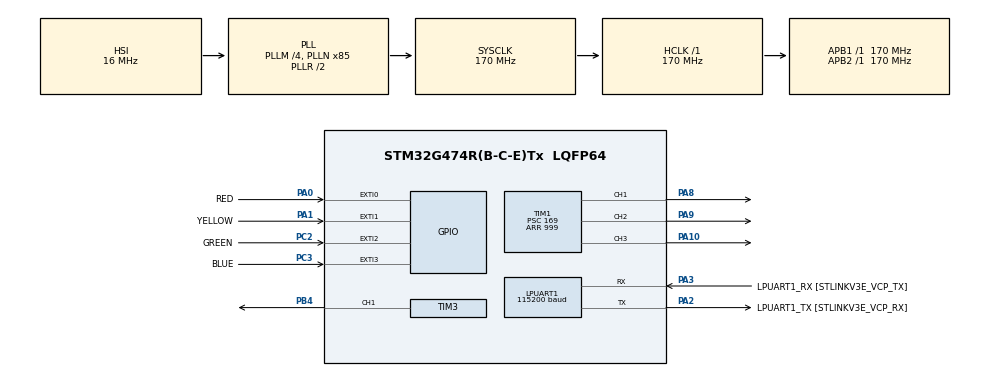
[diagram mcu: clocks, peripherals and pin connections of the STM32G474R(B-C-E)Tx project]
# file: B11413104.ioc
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LPUART1.BaudRate=115200
Mcu.Family=STM32G4
Mcu.Name=STM32G474R(B-C-E)Tx
Mcu.Package=LQFP64
NVIC.EXTI0_IRQn=true\:0\:0\:false\:false\:true\:true\:true\:true
NVIC.EXTI1_IRQn=true\:0\:0\:false\:false\:true\:true\:true\:true
NVIC.EXTI2_IRQn=true\:0\:0\:false\:false\:true\:true\:true\:true
NVIC.EXTI3_IRQn=true\:0\:0\:false\:false\:true\:true\:true\:true
NVIC.LPUART1_IRQn=true\:0\:0\:false\:false\:true\:true\:true\:true
NVIC.PriorityGroup=NVIC_PRIORITYGROUP_4
PA0.GPIO_Label=RED
PA0.GPIO_ModeDefaultEXTI=GPIO_MODE_IT_FALLING
PA0.GPIO_PuPd=GPIO_PULLUP
PA0.Signal=GPXTI0
PA1.GPIO_Label=YELLOW
PA1.GPIO_ModeDefaultEXTI=GPIO_MODE_IT_FALLING
PA1.GPIO_PuPd=GPIO_PULLUP
PA1.Signal=GPXTI1
PA10.Signal=S_TIM1_CH3
PA13.GPIO_Label=T_SWDIO
PA13.Signal=SYS_JTMS-SWDIO
PA14.GPIO_Label=T_SWCLK
PA14.Signal=SYS_JTCK-SWCLK
PA2.GPIO_Label=LPUART1_TX [STLINKV3E_VCP_RX]
PA2.Mode=Asynchronous
PA2.Signal=LPUART1_TX
PA3.GPIO_Label=LPUART1_RX [STLINKV3E_VCP_TX]
PA3.Mode=Asynchronous
PA3.Signal=LPUART1_RX
PA8.Signal=S_TIM1_CH1
PA9.Signal=S_TIM1_CH2
PB3.GPIO_Label=T_SWO
PB3.Signal=SYS_JTDO-SWO
PB4.Signal=S_TIM3_CH1
PC14-OSC32_IN.GPIO_Label=RCC_OSC32_IN
PC14-OSC32_IN.Signal=RCC_OSC32_IN
PC15-OSC32_OUT.GPIO_Label=RCC_OSC32_OUT
PC15-OSC32_OUT.Signal=RCC_OSC32_OUT
PC2.GPIO_Label=GREEN
PC2.GPIO_ModeDefaultEXTI=GPIO_MODE_IT_FALLING
PC2.GPIO_PuPd=GPIO_PULLUP
PC2.Signal=GPXTI2
PC3.GPIO_Label=BLUE
PC3.GPIO_ModeDefaultEXTI=GPIO_MODE_IT_FALLING
PC3.GPIO_PuPd=GPIO_PULLUP
PC3.Signal=GPXTI3
PF0-OSC_IN.GPIO_Label=RCC_OSC_IN
PF0-OSC_IN.Signal=RCC_OSC_IN
PF1-OSC_OUT.GPIO_Label=RCC_OSC_OUT
PF1-OSC_OUT.Signal=RCC_OSC_OUT
ProjectManager.HeapSize=0x200
ProjectManager.StackSize=0x400
ProjectManager.TargetToolchain=STM32CubeIDE
RCC.ADC12Freq_Value=170000000
RCC.ADC345Freq_Value=170000000
RCC.AHBFreq_Value=170000000
RCC.APB1Freq_Value=170000000
RCC.APB1TimFreq_Value=170000000
RCC.APB2Freq_Value=170000000
RCC.APB2TimFreq_Value=170000000
RCC.CortexFreq_Value=170000000
RCC.EXTERNAL_CLOCK_VALUE=12288000
RCC.HCLKFreq_Value=170000000
RCC.HSE_VALUE=24000000
RCC.HSI48_VALUE=48000000
RCC.HSI_VALUE=16000000
RCC.LSE_VALUE=32768
RCC.PLLM=RCC_PLLM_DIV4
RCC.PLLN=85
RCC.RTCClockSelection=RCC_RTCCLKSOURCE_LSE
RCC.SYSCLKFreq_VALUE=170000000
RCC.SYSCLKSource=RCC_SYSCLKSOURCE_PLLCLK
RCC.USBFreq_Value=170000000
RCC.VCOOutputFreq_Value=340000000
SH.S_TIM1_CH1.0=TIM1_CH1,PWM Generation1 CH1
SH.S_TIM1_CH2.0=TIM1_CH2,PWM Generation2 CH2
SH.S_TIM1_CH3.0=TIM1_CH3,PWM Generation3 CH3
SH.S_TIM3_CH1.0=TIM3_CH1,PWM Generation1 CH1
TIM1.Channel-PWM\ Generation1\ CH1=TIM_CHANNEL_1
TIM1.Channel-PWM\ Generation2\ CH2=TIM_CHANNEL_2
TIM1.Channel-PWM\ Generation3\ CH3=TIM_CHANNEL_3
TIM1.PeriodNoDither=999
TIM1.Prescaler=169
TIM3.Channel-PWM\ Generation1\ CH1=TIM_CHANNEL_1
TIM3.PeriodNoDither=999
TIM3.Prescaler=169
VP_SYS_VS_DBSignals.Mode=DisableDeadBatterySignals
VP_TIM1_VS_ClockSourceINT.Mode=Internal
VP_TIM3_VS_ClockSourceINT.Mode=Internal
board=NUCLEO-G474RE

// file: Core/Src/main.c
/* USER CODE BEGIN Header */
/**
  ******************************************************************************
  * @file           : main.c
  * @brief          : Main program body
  ******************************************************************************
  * @attention
  *
  * Copyright (c) 2026 STMicroelectronics.
  * All rights reserved.
  *
  * This software is licensed under terms that can be found in the LICENSE file
  * in the root directory of this software component.
  * If no LICENSE file comes with this software, it is provided AS-IS.
  *
  ******************************************************************************
  */
/* USER CODE END Header */
#include "main.h"

/* USER CODE BEGIN Includes */
#include <stdio.h>
#include <string.h>
#include <stdbool.h>
#include <stdlib.h>
#include <ctype.h>
/* USER CODE END Includes */

UART_HandleTypeDef hlpuart1;

TIM_HandleTypeDef htim1;
TIM_HandleTypeDef htim3;

/* USER CODE BEGIN PV */
typedef enum {
    STATE_IDLE,       // 起始狀態：LED 恆亮
    STATE_PLAYING,    // 遊戲進行中：按下的 LED 熄滅
    STATE_SUCCESS,    // 成功：呼吸燈效果
    STATE_FAILED      // 失敗：四顆燈快速閃爍
} GameState_t;

GameState_t gameState = STATE_IDLE;

// 遊戲參數
uint8_t wireCount = 4;                     // 引線數量 (1~4)
char wireSeq[5] = "BRYG";                  // 引線正確順序字串 (R, Y, G, B)
uint32_t totalTimeSec = 30;                // 倒數時間 (秒)

// 遊戲即時狀態
uint8_t currentStep = 0;                   // 當前已剪斷正確數
uint32_t gameStartTime = 0;                // 開始時間 (ms)
uint32_t lastReportTime = 0;               // 上次 UART 自動回報時間 (ms)
uint32_t breathTimer = 0;                  // 呼吸燈計時 (ms)
uint32_t blinkTimer = 0;                   // 閃爍計時 (ms)
bool ledBlinkState = false;

// LED 個別點亮/熄滅狀態 (1:亮, 0:滅)
uint8_t ledStatus[4] = {1, 1, 1, 1}; // 0:Red, 1:Yellow, 2:Green, 3:Blue

// 按鈕引線當前狀態 (true: 已剪斷/按過)
bool wireCut[4] = {false, false, false, false};

// LPUART1 緩衝區
#define RX_BUFF_SIZE 64
uint8_t rxBuffer[RX_BUFF_SIZE];
uint8_t rxChar;
uint8_t rxIndex = 0;

// 按鈕防彈跳時間
uint32_t lastBtnTime[4] = {0};
/* USER CODE END PV */

void SystemClock_Config(void);
static void MX_GPIO_Init(void);
static void MX_LPUART1_UART_Init(void);
static void MX_TIM1_Init(void);
static void MX_TIM3_Init(void);
/* USER CODE BEGIN PFP */
void SendUART(const char *str);
void ProcessCommand(char *cmd);
void UpdateLEDs(void);
void SetLEDs(uint8_t r, uint8_t y, uint8_t g, uint8_t b); // <-- 補上這行宣告
void ReadButtons(void);
void EndGame(bool success, const char *reason);
void PrintHelp(void);
void PrintStatus(void);
uint8_t ColorToIdx(char c);
char IdxToColorChar(uint8_t idx);
/* USER CODE END PFP */

int main(void)
{

  /* MCU Configuration--------------------------------------------------------*/

  /* Reset of all peripherals, Initializes the Flash interface and the Systick. */
  HAL_Init();

  /* Configure the system clock */
  SystemClock_Config();

  /* Initialize all configured peripherals */
  MX_GPIO_Init();
  MX_LPUART1_UART_Init();
  // 啟動 UART 中斷接收
    HAL_UART_Receive_IT(&hlpuart1, &rxChar, 1);

    SendUART("\r\n========================================\r\n");
    SendUART(" [Bomb Defuse Simulator] System Ready.\r\n");
    SendUART(" Type 'HELP' to show available commands.\r\n");
    SendUART("========================================\r\n");
  MX_TIM1_Init();
  MX_TIM3_Init();
  /* USER CODE BEGIN 2 */
  // 重新將 PA8, PA9, PA10, PB4 配置為 GPIO Input + 上拉電阻 (防雜訊與防誤觸)
    GPIO_InitTypeDef GPIO_InitStruct = {0};
    GPIO_InitStruct.Mode = GPIO_MODE_INPUT;
    GPIO_InitStruct.Pull = GPIO_PULLUP;

    GPIO_InitStruct.Pin = GPIO_PIN_8 | GPIO_PIN_9 | GPIO_PIN_10;
    HAL_GPIO_Init(GPIOA, &GPIO_InitStruct); // PA8 (RED), PA9 (YELLOW), PA10 (GREEN)

    GPIO_InitStruct.Pin = GPIO_PIN_4;
    HAL_GPIO_Init(GPIOB, &GPIO_InitStruct); // PB4 (BLUE)

    // 將 PA0, PA1, PC2, PC3 設定為 GPIO 數位輸出 (控制 4 顆 LED)
    GPIO_InitStruct.Mode = GPIO_MODE_OUTPUT_PP;
    GPIO_InitStruct.Pull = GPIO_NOPULL;
    GPIO_InitStruct.Speed = GPIO_SPEED_FREQ_LOW;

    GPIO_InitStruct.Pin = GPIO_PIN_0 | GPIO_PIN_1;
    HAL_GPIO_Init(GPIOA, &GPIO_InitStruct); // PA0 (RED LED), PA1 (YELLOW LED)

    GPIO_InitStruct.Pin = GPIO_PIN_2 | GPIO_PIN_3;
    HAL_GPIO_Init(GPIOC, &GPIO_InitStruct); // PC2 (GREEN LED), PC3 (BLUE LED)

    // 啟動 LPUART1 中斷接收
    HAL_UART_Receive_IT(&hlpuart1, &rxChar, 1);

    SendUART("\r\n========================================\r\n");
    SendUART(" [Bomb Defuse Simulator] System Ready.\r\n");
    SendUART(" Type 'HELP' to show available commands.\r\n");
    SendUART("========================================\r\n");
  /* USER CODE END 2 */

  /* Infinite loop */
  while (1)
  {

    /* USER CODE BEGIN 3 */

	  uint32_t now = HAL_GetTick();

	        // ----------------------------------------------------
	        // 1. 狀態機與 LED 燈效處理
	        // ----------------------------------------------------
	        switch (gameState) {
	            case STATE_IDLE:
	                // 起始狀態：4 顆 LED 恆亮
	                SetLEDs(1, 1, 1, 1);
	                break;

	            case STATE_PLAYING:
	                // 遊戲倒數計時
	                {
	                    uint32_t elapsedSec = (now - gameStartTime) / 1000;
	                    if (elapsedSec >= totalTimeSec) {
	                        EndGame(false, "TIME EXPIRED! BOMB EXPLODED!");
	                    } else {
	                        // 每秒透過 UART 自動顯示倒數與進度
	                        if (now - lastReportTime >= 1000) {
	                            lastReportTime = now;
	                            char msg[64];
	                            uint32_t remain = totalTimeSec - elapsedSec;
	                            snprintf(msg, sizeof(msg), "[TIMER] Remaining: %lu s | Defused: %d/%d\r\n",
	                                     remain, currentStep, wireCount);
	                            SendUART(msg);
	                        }
	                    }
	                }
	                UpdateLEDs();
	                ReadButtons();
	                break;

	            case STATE_SUCCESS:
	                // 【通關：呼吸燈效果】利用高頻 PWM 模擬流暢呼吸燈 (週期約 1.5 秒)
	                if (now - breathTimer >= 15) {
	                    breathTimer = now;

	                    static int brightness = 0;   // 亮度 (0 ~ 100)
	                    static int fadeDir = 1;      // 漸變方向 (1:變亮, -1:變暗)

	                    brightness += fadeDir * 3;
	                    if (brightness >= 100) {
	                        brightness = 100;
	                        fadeDir = -1;
	                    } else if (brightness <= 0) {
	                        brightness = 0;
	                        fadeDir = 1;
	                    }

	                    // 軟體 PWM 脈衝寬度調變
	                    for (int i = 0; i < 10; i++) {
	                        if (i < (brightness / 10)) {
	                            SetLEDs(1, 1, 1, 1);
	                        } else {
	                            SetLEDs(0, 0, 0, 0);
	                        }
	                        // 產生 100us 極微小延遲形成 PWM 視覺效果
	                        for (volatile int delay = 0; delay < 200; delay++);
	                    }
	                }
	                break;

	            case STATE_FAILED:
	                // 【失敗：四顆燈快速閃爍】(每 100ms 切換全亮 / 全滅)
	                if (now - blinkTimer >= 100) {
	                    blinkTimer = now;
	                    ledBlinkState = !ledBlinkState;
	                    if (ledBlinkState) {
	                        SetLEDs(1, 1, 1, 1); // 4 顆全亮
	                    } else {
	                        SetLEDs(0, 0, 0, 0); // 4 顆全滅
	                    }
	                }
	                break;
	      }
	    }
	  }

	  // ----------------------------------------------------
	  // 工具函式
	  // ----------------------------------------------------
	  void SendUART(const char *str) {
	      HAL_UART_Transmit(&hlpuart1, (uint8_t*)str, strlen(str), HAL_MAX_DELAY);
	  }

	  // 轉換顏色字元與索引 (0:R, 1:Y, 2:G, 3:B)
	  uint8_t ColorToIdx(char c) {
	      switch (toupper(c)) {
	          case 'R': return 0;
	          case 'Y': return 1;
	          case 'G': return 2;
	          case 'B': return 3;
	          default:  return 255;
	      }
	  }

	  char IdxToColorChar(uint8_t idx) {
	      switch(idx) {
	          case 0: return 'R';
	          case 1: return 'Y';
	          case 2: return 'G';
	          case 3: return 'B';
	          default: return '?';
	      }
	  }

	  // 更新物理 GPIO 點亮或熄滅
	  void UpdateLEDs(void) {
	      HAL_GPIO_WritePin(GPIOA, GPIO_PIN_0, ledStatus[0] ? GPIO_PIN_SET : GPIO_PIN_RESET); // RED
	      HAL_GPIO_WritePin(GPIOA, GPIO_PIN_1, ledStatus[1] ? GPIO_PIN_SET : GPIO_PIN_RESET); // YELLOW
	      HAL_GPIO_WritePin(GPIOC, GPIO_PIN_2, ledStatus[2] ? GPIO_PIN_SET : GPIO_PIN_RESET); // GREEN
	      HAL_GPIO_WritePin(GPIOC, GPIO_PIN_3, ledStatus[3] ? GPIO_PIN_SET : GPIO_PIN_RESET); // BLUE
	  }

	  // 印出 HELP 指令資訊
	  void PrintHelp(void) {
	      SendUART("\r\n=== COMMAND LIST ===\r\n");
	      SendUART(" HELP           : Show command manual\r\n");
	      SendUART(" SET <N> <SEQ>  : Set wire count N (1-4) & sequence string (e.g. SET 4 BRYG)\r\n");
	      SendUART(" TIME <SEC>     : Set countdown timer in seconds (e.g. TIME 30)\r\n");
	      SendUART(" START          : Start game and countdown\r\n");
	      SendUART(" STATUS         : View current settings and game status\r\n");
	      SendUART(" RESET          : Reset back to IDLE state\r\n");
	      SendUART("====================\r\n\r\n");
	  }

	  // 印出 STATUS 目前設定與狀態
	  void PrintStatus(void) {
	      char msg[128];
	      snprintf(msg, sizeof(msg),
	               "\r\n=== GAME STATUS ===\r\n State: %s\r\n Target Wires: %d\r\n Sequence: %s\r\n Time: %lu s\r\n===================\r\n\r\n",
	               (gameState == STATE_IDLE) ? "IDLE" :
	               (gameState == STATE_PLAYING) ? "PLAYING" :
	               (gameState == STATE_SUCCESS) ? "SUCCESS" : "FAILED",
	               wireCount, wireSeq, totalTimeSec);
	      SendUART(msg);
	  }

	  // 讀取按鈕與剪線 Logic (加入防懸空與去彈跳機制)
	  void ReadButtons(void) {
		  if (gameState != STATE_PLAYING) return;

		      GPIO_TypeDef* ports[4] = {GPIOA, GPIOA, GPIOA, GPIOB};
		      uint16_t pins[4] = {GPIO_PIN_8, GPIO_PIN_9, GPIO_PIN_10, GPIO_PIN_4};
		      uint32_t now = HAL_GetTick();

		      // 遊戲開始前 500ms 忽略按鈕，避免啟動電位突波
		      if (now - gameStartTime < 500) return;

		      for (int i = 0; i < 4; i++) {
		          // 第一次判斷：腳位是否為 Low (Active Low)
		          if (HAL_GPIO_ReadPin(ports[i], pins[i]) == GPIO_PIN_RESET && !wireCut[i]) {
		              if (now - lastBtnTime[i] > 300) {

		                  // 二次延遲確認：防止懸空靜電或雜訊突波誤判
		                  HAL_Delay(5);
		                  if (HAL_GPIO_ReadPin(ports[i], pins[i]) != GPIO_PIN_RESET) {
		                      continue; // 屬雜訊突波，忽略
		                  }

		                  lastBtnTime[i] = now;
		                  wireCut[i] = true;
		                  ledStatus[i] = 0; // 按下後對應 LED 熄滅

		                  char pressedColor = IdxToColorChar(i);
		                  char expectedColor = wireSeq[currentStep];

		                  if (pressedColor == expectedColor) {
		                      currentStep++;

		                      char msg[64];
		                      const char* colorNames[] = {"RED", "YELLOW", "GREEN", "BLUE"};
		                      snprintf(msg, sizeof(msg), "CUT %s CORRECT (%d/%d)\r\n",
		                               colorNames[i], currentStep, wireCount);
		                      SendUART(msg);

		                      if (currentStep >= wireCount) {
		                          EndGame(true, "ALL WIRES DEFUSED PROPERLY!");
		                          return;
		                      }
		                  } else {
		                      // 按錯引線
		                      char msg[64];
		                      const char* colorNames[] = {"RED", "YELLOW", "GREEN", "BLUE"};
		                      snprintf(msg, sizeof(msg), "CUT %s WRONG! EXPECTED '%c'\r\n",
		                               colorNames[i], expectedColor);
		                      SendUART(msg);
		                      EndGame(false, "WRONG WIRE ORDER CUT!");
		                      return;
		                  }
		              }
		          }
		      }
	  }
	  // 結束遊戲與結算成績
	  void EndGame(bool success, const char *reason) {
	      uint32_t usedTime = (HAL_GetTick() - gameStartTime) / 1000;

	      if (success) {
	          gameState = STATE_SUCCESS;
	          SendUART("\r\n========================================\r\n");
	          SendUART(" *** BOMB DEFUSED SUCCESSFULLY! ***\r\n");
	          char scoreMsg[64];
	          snprintf(scoreMsg, sizeof(scoreMsg), " SCORE: SUCCESS | Time Spent: %lu s / %lu s\r\n",
	                   usedTime, totalTimeSec);
	          SendUART(scoreMsg);
	          SendUART("========================================\r\n");
	      } else {
	          gameState = STATE_FAILED;
	          SendUART("\r\n========================================\r\n");
	          SendUART(" !!! GAME OVER - BOMB EXPLODED !!!\r\n");
	          char failMsg[96];
	          snprintf(failMsg, sizeof(failMsg), " REASON: %s\r\n SCORE: FAILED | Completed: %d/%d Wires\r\n",
	                   reason, currentStep, wireCount);
	          SendUART(failMsg);
	          SendUART("========================================\r\n");
	      }
	  }

	  // UART 指令解析器
	  void ProcessCommand(char *cmd) {
	      // 轉成大寫方便比對
	      for (int i = 0; cmd[i]; i++) cmd[i] = toupper(cmd[i]);

	      if (strcmp(cmd, "HELP") == 0) {
	          PrintHelp();
	      }
	      else if (strcmp(cmd, "STATUS") == 0) {
	          PrintStatus();
	      }
	      else if (strncmp(cmd, "SET ", 4) == 0) {
	          // 解析 SET 4 BRYG
	          int num = 0;
	          char seqBuf[16] = {0};
	          if (sscanf(cmd + 4, "%d %15s", &num, seqBuf) == 2) {
	              if (num >= 1 && num <= 4 && strlen(seqBuf) == num) {
	                  wireCount = num;
	                  strncpy(wireSeq, seqBuf, num);
	                  wireSeq[num] = '\0';
	                  SendUART("[OK] Target wires and sequence updated.\r\n");
	              } else {
	                  SendUART("[ERROR] Invalid parameters. Usage: SET 4 BRYG (Length 1-4)\r\n");
	              }
	          }
	      }
	      else if (strncmp(cmd, "TIME ", 5) == 0) {
	          int sec = atoi(cmd + 5);
	          if (sec > 0) {
	              totalTimeSec = sec;
	              char msg[48];
	              snprintf(msg, sizeof(msg), "[OK] Countdown time set to %d seconds.\r\n", totalTimeSec);
	              SendUART(msg);
	          } else {
	              SendUART("[ERROR] Invalid time value.\r\n");
	          }
	      }
	      else if (strcmp(cmd, "START") == 0) {
	              if (gameState == STATE_PLAYING) {
	                  SendUART("[WARN] Game is already in progress!\r\n");
	                  return;
	              }
	          gameState = STATE_PLAYING;
	          currentStep = 0;
	          gameStartTime = HAL_GetTick();
	          lastReportTime = gameStartTime;

	          // 開始時徹底重置按鈕與 LED 狀態
	                  currentStep = 0;
	                  for (int i = 0; i < 4; i++) {
	                      wireCut[i] = false;
	                      ledStatus[i] = 1; // 4 顆 LED 恆亮
	                      lastBtnTime[i] = HAL_GetTick();
	                  }

	                  gameStartTime = HAL_GetTick();
	                  lastReportTime = gameStartTime;
	                  gameState = STATE_PLAYING;

	                  SendUART("\r\n[GAME] Start! Defuse the bomb now!\r\n");
	      }
	      else if (strcmp(cmd, "RESET") == 0) {
	          gameState = STATE_IDLE;
	          currentStep = 0;
	          for (int i = 0; i < 4; i++) {
	              wireCut[i] = false;
	              ledStatus[i] = 1;
	          }
	          SendUART("\r\n[GAME] Reset to IDLE.\r\n");
	      }
	      else {
	          SendUART("Unknown command. Type 'HELP' for options.\r\n");
	      }
	  }

	  // UART Rx 接收中斷回呼
	  void HAL_UART_RxCpltCallback(UART_HandleTypeDef *huart) {
	      if (huart->Instance == LPUART1) {
	          if (rxChar == '\r' || rxChar == '\n') {
	              if (rxIndex > 0) {
	                  rxBuffer[rxIndex] = '\0';
	                  ProcessCommand((char*)rxBuffer);
	                  rxIndex = 0;
	              }
	          } else {
	              if (rxIndex < RX_BUFF_SIZE - 1) {
	                  rxBuffer[rxIndex++] = rxChar;
	              }
	          }
	          HAL_UART_Receive_IT(&hlpuart1, &rxChar, 1);
	      }
	  }

  /* USER CODE END 3 */

void SystemClock_Config(void)
{
  RCC_OscInitTypeDef RCC_OscInitStruct = {0};
  RCC_ClkInitTypeDef RCC_ClkInitStruct = {0};

  /** Configure the main internal regulator output voltage
  */
  HAL_PWREx_ControlVoltageScaling(PWR_REGULATOR_VOLTAGE_SCALE1_BOOST);

  /** Initializes the RCC Oscillators according to the specified parameters
  * in the RCC_OscInitTypeDef structure.
  */
  RCC_OscInitStruct.OscillatorType = RCC_OSCILLATORTYPE_HSI;
  RCC_OscInitStruct.HSIState = RCC_HSI_ON;
  RCC_OscInitStruct.HSICalibrationValue = RCC_HSICALIBRATION_DEFAULT;
  RCC_OscInitStruct.PLL.PLLState = RCC_PLL_ON;
  RCC_OscInitStruct.PLL.PLLSource = RCC_PLLSOURCE_HSI;
  RCC_OscInitStruct.PLL.PLLM = RCC_PLLM_DIV4;
  RCC_OscInitStruct.PLL.PLLN = 85;
  RCC_OscInitStruct.PLL.PLLP = RCC_PLLP_DIV2;
  RCC_OscInitStruct.PLL.PLLQ = RCC_PLLQ_DIV2;
  RCC_OscInitStruct.PLL.PLLR = RCC_PLLR_DIV2;
  if (HAL_RCC_OscConfig(&RCC_OscInitStruct) != HAL_OK)
  {
    Error_Handler();
  }

  /** Initializes the CPU, AHB and APB buses clocks
  */
  RCC_ClkInitStruct.ClockType = RCC_CLOCKTYPE_HCLK|RCC_CLOCKTYPE_SYSCLK
                              |RCC_CLOCKTYPE_PCLK1|RCC_CLOCKTYPE_PCLK2;
  RCC_ClkInitStruct.SYSCLKSource = RCC_SYSCLKSOURCE_PLLCLK;
  RCC_ClkInitStruct.AHBCLKDivider = RCC_SYSCLK_DIV1;
  RCC_ClkInitStruct.APB1CLKDivider = RCC_HCLK_DIV1;
  RCC_ClkInitStruct.APB2CLKDivider = RCC_HCLK_DIV1;

  if (HAL_RCC_ClockConfig(&RCC_ClkInitStruct, FLASH_LATENCY_4) != HAL_OK)
  {
    Error_Handler();
  }
}

static void MX_LPUART1_UART_Init(void)
{

  hlpuart1.Instance = LPUART1;
  hlpuart1.Init.BaudRate = 115200;
  hlpuart1.Init.WordLength = UART_WORDLENGTH_8B;
  hlpuart1.Init.StopBits = UART_STOPBITS_1;
  hlpuart1.Init.Parity = UART_PARITY_NONE;
  hlpuart1.Init.Mode = UART_MODE_TX_RX;
  hlpuart1.Init.HwFlowCtl = UART_HWCONTROL_NONE;
  hlpuart1.Init.OneBitSampling = UART_ONE_BIT_SAMPLE_DISABLE;
  hlpuart1.Init.ClockPrescaler = UART_PRESCALER_DIV1;
  hlpuart1.AdvancedInit.AdvFeatureInit = UART_ADVFEATURE_NO_INIT;
  if (HAL_UART_Init(&hlpuart1) != HAL_OK)
  {
    Error_Handler();
  }
  if (HAL_UARTEx_SetTxFifoThreshold(&hlpuart1, UART_TXFIFO_THRESHOLD_1_8) != HAL_OK)
  {
    Error_Handler();
  }
  if (HAL_UARTEx_SetRxFifoThreshold(&hlpuart1, UART_RXFIFO_THRESHOLD_1_8) != HAL_OK)
  {
    Error_Handler();
  }
  if (HAL_UARTEx_DisableFifoMode(&hlpuart1) != HAL_OK)
  {
    Error_Handler();
  }

}

static void MX_TIM1_Init(void)
{

  TIM_ClockConfigTypeDef sClockSourceConfig = {0};
  TIM_MasterConfigTypeDef sMasterConfig = {0};
  TIM_OC_InitTypeDef sConfigOC = {0};
  TIM_BreakDeadTimeConfigTypeDef sBreakDeadTimeConfig = {0};

  htim1.Instance = TIM1;
  htim1.Init.Prescaler = 169;
  htim1.Init.CounterMode = TIM_COUNTERMODE_UP;
  htim1.Init.Period = 999;
  htim1.Init.ClockDivision = TIM_CLOCKDIVISION_DIV1;
  htim1.Init.RepetitionCounter = 0;
  htim1.Init.AutoReloadPreload = TIM_AUTORELOAD_PRELOAD_DISABLE;
  if (HAL_TIM_Base_Init(&htim1) != HAL_OK)
  {
    Error_Handler();
  }
  sClockSourceConfig.ClockSource = TIM_CLOCKSOURCE_INTERNAL;
  if (HAL_TIM_ConfigClockSource(&htim1, &sClockSourceConfig) != HAL_OK)
  {
    Error_Handler();
  }
  if (HAL_TIM_PWM_Init(&htim1) != HAL_OK)
  {
    Error_Handler();
  }
  sMasterConfig.MasterOutputTrigger = TIM_TRGO_RESET;
  sMasterConfig.MasterOutputTrigger2 = TIM_TRGO2_RESET;
  sMasterConfig.MasterSlaveMode = TIM_MASTERSLAVEMODE_DISABLE;
  if (HAL_TIMEx_MasterConfigSynchronization(&htim1, &sMasterConfig) != HAL_OK)
  {
    Error_Handler();
  }
  sConfigOC.OCMode = TIM_OCMODE_PWM1;
  sConfigOC.Pulse = 0;
  sConfigOC.OCPolarity = TIM_OCPOLARITY_HIGH;
  sConfigOC.OCNPolarity = TIM_OCNPOLARITY_HIGH;
  sConfigOC.OCFastMode = TIM_OCFAST_DISABLE;
  sConfigOC.OCIdleState = TIM_OCIDLESTATE_RESET;
  sConfigOC.OCNIdleState = TIM_OCNIDLESTATE_RESET;
  if (HAL_TIM_PWM_ConfigChannel(&htim1, &sConfigOC, TIM_CHANNEL_1) != HAL_OK)
  {
    Error_Handler();
  }
  if (HAL_TIM_PWM_ConfigChannel(&htim1, &sConfigOC, TIM_CHANNEL_2) != HAL_OK)
  {
    Error_Handler();
  }
  if (HAL_TIM_PWM_ConfigChannel(&htim1, &sConfigOC, TIM_CHANNEL_3) != HAL_OK)
  {
    Error_Handler();
  }
  sBreakDeadTimeConfig.OffStateRunMode = TIM_OSSR_DISABLE;
  sBreakDeadTimeConfig.OffStateIDLEMode = TIM_OSSI_DISABLE;
  sBreakDeadTimeConfig.LockLevel = TIM_LOCKLEVEL_OFF;
  sBreakDeadTimeConfig.DeadTime = 0;
  sBreakDeadTimeConfig.BreakState = TIM_BREAK_DISABLE;
  sBreakDeadTimeConfig.BreakPolarity = TIM_BREAKPOLARITY_HIGH;
  sBreakDeadTimeConfig.BreakFilter = 0;
  sBreakDeadTimeConfig.BreakAFMode = TIM_BREAK_AFMODE_INPUT;
  sBreakDeadTimeConfig.Break2State = TIM_BREAK2_DISABLE;
  sBreakDeadTimeConfig.Break2Polarity = TIM_BREAK2POLARITY_HIGH;
  sBreakDeadTimeConfig.Break2Filter = 0;
  sBreakDeadTimeConfig.Break2AFMode = TIM_BREAK_AFMODE_INPUT;
  sBreakDeadTimeConfig.AutomaticOutput = TIM_AUTOMATICOUTPUT_DISABLE;
  if (HAL_TIMEx_ConfigBreakDeadTime(&htim1, &sBreakDeadTimeConfig) != HAL_OK)
  {
    Error_Handler();
  }
  HAL_TIM_MspPostInit(&htim1);

}

static void MX_TIM3_Init(void)
{

  TIM_ClockConfigTypeDef sClockSourceConfig = {0};
  TIM_MasterConfigTypeDef sMasterConfig = {0};
  TIM_OC_InitTypeDef sConfigOC = {0};

  htim3.Instance = TIM3;
  htim3.Init.Prescaler = 169;
  htim3.Init.CounterMode = TIM_COUNTERMODE_UP;
  htim3.Init.Period = 999;
  htim3.Init.ClockDivision = TIM_CLOCKDIVISION_DIV1;
  htim3.Init.AutoReloadPreload = TIM_AUTORELOAD_PRELOAD_DISABLE;
  if (HAL_TIM_Base_Init(&htim3) != HAL_OK)
  {
    Error_Handler();
  }
  sClockSourceConfig.ClockSource = TIM_CLOCKSOURCE_INTERNAL;
  if (HAL_TIM_ConfigClockSource(&htim3, &sClockSourceConfig) != HAL_OK)
  {
    Error_Handler();
  }
  if (HAL_TIM_PWM_Init(&htim3) != HAL_OK)
  {
    Error_Handler();
  }
  sMasterConfig.MasterOutputTrigger = TIM_TRGO_RESET;
  sMasterConfig.MasterSlaveMode = TIM_MASTERSLAVEMODE_DISABLE;
  if (HAL_TIMEx_MasterConfigSynchronization(&htim3, &sMasterConfig) != HAL_OK)
  {
    Error_Handler();
  }
  sConfigOC.OCMode = TIM_OCMODE_PWM1;
  sConfigOC.Pulse = 0;
  sConfigOC.OCPolarity = TIM_OCPOLARITY_HIGH;
  sConfigOC.OCFastMode = TIM_OCFAST_DISABLE;
  if (HAL_TIM_PWM_ConfigChannel(&htim3, &sConfigOC, TIM_CHANNEL_1) != HAL_OK)
  {
    Error_Handler();
  }
  HAL_TIM_MspPostInit(&htim3);

}

static void MX_GPIO_Init(void)
{
  GPIO_InitTypeDef GPIO_InitStruct = {0};

  /* GPIO Ports Clock Enable */
  __HAL_RCC_GPIOC_CLK_ENABLE();
  __HAL_RCC_GPIOF_CLK_ENABLE();
  __HAL_RCC_GPIOA_CLK_ENABLE();
  __HAL_RCC_GPIOB_CLK_ENABLE();

  /*Configure GPIO pins : GREEN_Pin BLUE_Pin */
  GPIO_InitStruct.Pin = GREEN_Pin|BLUE_Pin;
  GPIO_InitStruct.Mode = GPIO_MODE_IT_FALLING;
  GPIO_InitStruct.Pull = GPIO_PULLUP;
  HAL_GPIO_Init(GPIOC, &GPIO_InitStruct);

  /*Configure GPIO pins : RED_Pin YELLOW_Pin */
  GPIO_InitStruct.Pin = RED_Pin|YELLOW_Pin;
  GPIO_InitStruct.Mode = GPIO_MODE_IT_FALLING;
  GPIO_InitStruct.Pull = GPIO_PULLUP;
  HAL_GPIO_Init(GPIOA, &GPIO_InitStruct);

  /* EXTI interrupt init*/
  HAL_NVIC_SetPriority(EXTI0_IRQn, 0, 0);
  HAL_NVIC_EnableIRQ(EXTI0_IRQn);

  HAL_NVIC_SetPriority(EXTI1_IRQn, 0, 0);
  HAL_NVIC_EnableIRQ(EXTI1_IRQn);

  HAL_NVIC_SetPriority(EXTI2_IRQn, 0, 0);
  HAL_NVIC_EnableIRQ(EXTI2_IRQn);

  HAL_NVIC_SetPriority(EXTI3_IRQn, 0, 0);
  HAL_NVIC_EnableIRQ(EXTI3_IRQn);

}

/* USER CODE BEGIN 4 */
// 控制 4 顆 LED 開關 (1:點亮, 0:熄滅)
void SetLEDs(uint8_t r, uint8_t y, uint8_t g, uint8_t b) {
    HAL_GPIO_WritePin(GPIOA, GPIO_PIN_0, r ? GPIO_PIN_SET : GPIO_PIN_RESET); // RED (PA0)
    HAL_GPIO_WritePin(GPIOA, GPIO_PIN_1, y ? GPIO_PIN_SET : GPIO_PIN_RESET); // YELLOW (PA1)
    HAL_GPIO_WritePin(GPIOC, GPIO_PIN_2, g ? GPIO_PIN_SET : GPIO_PIN_RESET); // GREEN (PC2)
    HAL_GPIO_WritePin(GPIOC, GPIO_PIN_3, b ? GPIO_PIN_SET : GPIO_PIN_RESET); // BLUE (PC3)
}
/* USER CODE END 4 */

void Error_Handler(void)
{
  __disable_irq();
  while (1)
  {
  }
}
